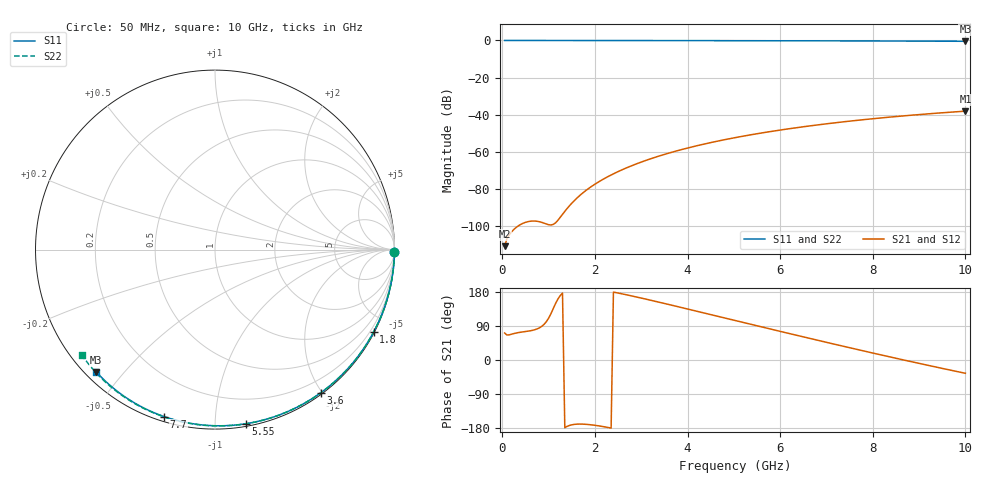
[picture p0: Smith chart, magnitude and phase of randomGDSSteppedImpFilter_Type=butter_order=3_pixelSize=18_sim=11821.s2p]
! freq	dB(S11)	phase(S11)	dB(S12)	phase(S12)
!  dB(S21)	phase(S21)	dB(S22)	phase(S22)
!S-par simulation data
#  GHz  S  DB  R 50
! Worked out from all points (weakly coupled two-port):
!   200 points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, 50 MHz to 10 GHz, reference 50 ohm
!   highest |S21| = -38.10 dB at 10 GHz (marker M1); lowest = -110.9 dB at 50 MHz (marker M2)
!   lowest |S11| = -0.4 dB at 10 GHz (marker M3), VSWR 38.74, Z = 1.52 - j21.2 ohm
!   |S11| at or under -10 dB: nowhere
!   |S22| runs from -0.5 to 0.0 dB; largest |S21 - S12| = 0
!   S11 on the Smith chart (normalised r, x): 50 MHz: open; 1.8 GHz: 0.04, -4.10; 3.6 GHz: 0.02, -1.98; 5.55 GHz: 0.02, -1.19; 7.7 GHz: 0.02, -0.74; 10 GHz: 0.03, -0.42
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0.05  -0.00 -0.8  -110.87 71.3  -110.87 71.3  -0.00 -0.8
0.45  -0.01 -7.0  -98.51 74.3  -98.51 74.3  -0.01 -7.3
0.9  -0.02 -13.8  -98.46 93.9  -98.46 93.9  -0.02 -14.6
1.75  -0.03 -26.7  -81.94 -169.3  -81.94 -169.3  -0.04 -28.1
1.8  -0.03 -27.4  -80.96 -169.6  -80.96 -169.6  -0.04 -28.9
1.85  -0.04 -28.2  -80.03 -170.1  -80.03 -170.1  -0.04 -29.7
2.15  -0.04 -32.6  -75.19 -175.1  -75.19 -175.1  -0.04 -34.4
2.35  -0.05 -35.6  -72.49 -179.6  -72.49 -179.6  -0.05 -37.5
2.55  -0.05 -38.5  -70.10 175.5  -70.10 175.5  -0.05 -40.6
2.95  -0.06 -44.3  -66.00 164.9  -66.00 164.9  -0.06 -46.7
3.4  -0.07 -50.8  -62.18 152.1  -62.18 152.1  -0.07 -53.4
3.6  -0.07 -53.6  -60.68 146.3  -60.68 146.3  -0.08 -56.4
3.9  -0.08 -57.8  -58.62 137.6  -58.62 137.6  -0.08 -60.8
4.3  -0.09 -63.3  -56.17 125.8  -56.17 125.8  -0.09 -66.6
5.05  -0.11 -73.5  -52.27 103.5  -52.27 103.5  -0.12 -77.3
5.55  -0.13 -80.0  -50.06 88.8  -50.06 88.8  -0.14 -84.2
6.1  -0.15 -87.1  -47.92 72.6  -47.92 72.6  -0.16 -91.6
6.7  -0.18 -94.7  -45.86 55.2  -45.86 55.2  -0.19 -99.6
7.7  -0.24 -107.0  -42.95 26.7  -42.95 26.7  -0.26 -112.5
8.35  -0.29 -114.7  -41.35 8.7  -41.35 8.7  -0.31 -120.8
9.15  -0.36 -124.2  -39.64 -13.0  -39.64 -13.0  -0.39 -130.9
10  -0.45 -134.1  -38.10 -35.1  -38.10 -35.1  -0.48 -141.7
